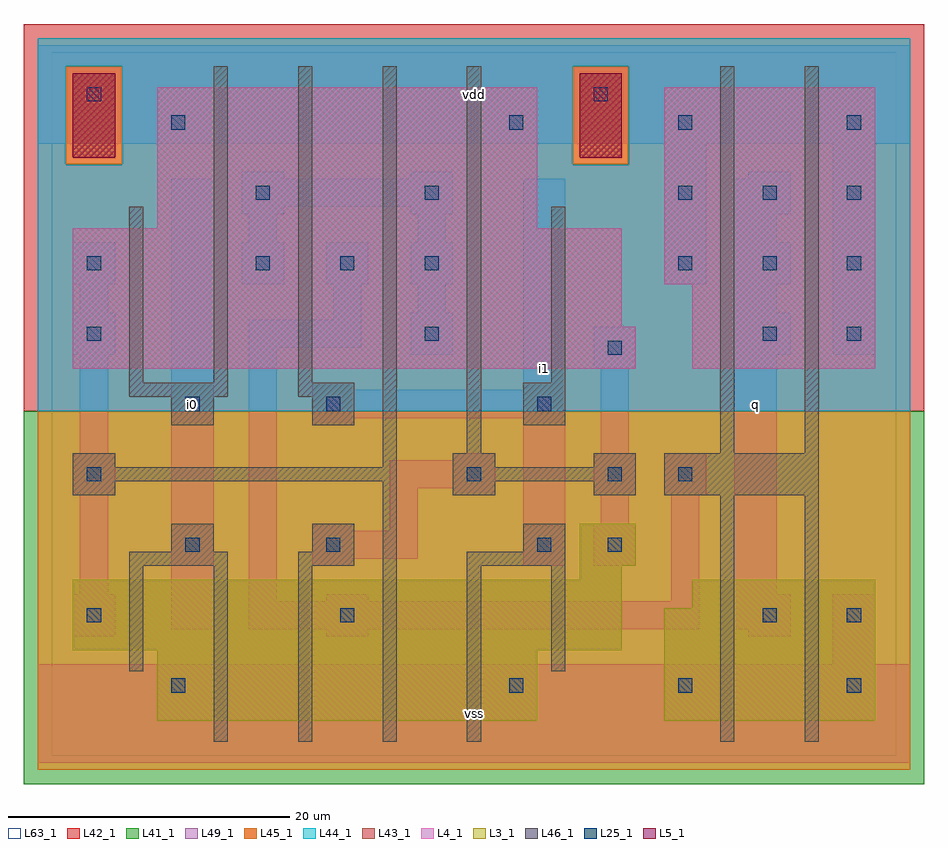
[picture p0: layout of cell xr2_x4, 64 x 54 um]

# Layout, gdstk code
import gdstk
lib = gdstk.Library(unit=1e-6, precision=1e-09)
def R(c, l, rs):  # rectangles x0, y0, x1, y1
    for r in rs: c.add(gdstk.rectangle(r[:2], r[2:], *l))
def A(c, l, x, y, w, h, nx, ny, dx, dy):  # array of equal rectangles
    R(c, l, [(x+i*dx, y+j*dy, x+i*dx+w, y+j*dy+h) for i in range(nx) for j in range(ny)])
L3_1 = (3, 1)
L4_1 = (4, 1)
L5_1 = (5, 1)
L25_1 = (25, 1)
L41_1 = (41, 1)
L42_1 = (42, 1)
L43_1 = (43, 1)
L44_1 = (44, 1)
L45_1 = (45, 1)
L46_1 = (46, 1)
L49_1 = (49, 1)
L63_1 = (63, 1)

xr2_x4 = lib.new_cell('xr2_x4')
R(xr2_x4, L3_1, [(7.5,2.5,34.5,7.5), (43.5,2.5,58.5,10.5), (1.5,7.5,40.5,12.5), (45.5,10.5,58.5,12.5), (37.5,12.5,40.5,13.5), (37.5,13.5,41.5,16.5)])
R(xr2_x4, L4_1, [(1.5,27.5,41.5,30.5), (45.5,27.5,58.5,33.5), (1.5,30.5,40.5,37.5), (43.5,33.5,58.5,47.5), (7.5,37.5,34.5,47.5)])
R(xr2_x4, L5_1, [(1.5,42.5,4.5,48.5), (37.5,42.5,40.5,48.5)])
A(xr2_x4, L25_1, 32.5, 4.5, 1, 1, 3, 2, 12, 40)
A(xr2_x4, L25_1, 2.5, 29.5, 1, 1, 3, 1, 24, 0)
A(xr2_x4, L25_1, 14.5, 34.5, 1, 1, 3, 1, 6, 0)
A(xr2_x4, L25_1, 44.5, 34.5, 1, 1, 3, 2, 6, 5)
R(xr2_x4, L25_1, [(8.5,4.5,9.5,5.5), (2.5,9.5,3.5,10.5), (20.5,9.5,21.5,10.5), (50.5,9.5,51.5,10.5), (56.5,9.5,57.5,10.5), (9.5,14.5,10.5,15.5), (19.5,14.5,20.5,15.5), (34.5,14.5,35.5,15.5), (39.5,14.5,40.5,15.5), (2.5,19.5,3.5,20.5), (29.5,19.5,30.5,20.5), (39.5,19.5,40.5,20.5), (44.5,19.5,45.5,20.5), (9.5,24.5,10.5,25.5), (19.5,24.5,20.5,25.5), (34.5,24.5,35.5,25.5), (39.5,28.5,40.5,29.5), (56.5,29.5,57.5,30.5), (2.5,34.5,3.5,35.5), (14.5,39.5,15.5,40.5), (26.5,39.5,27.5,40.5), (8.5,44.5,9.5,45.5), (2.5,46.5,3.5,47.5), (38.5,46.5,39.5,47.5)])
R(xr2_x4, L41_1, [(-2,-2,62,24.5)])
R(xr2_x4, L42_1, [(-2,24.5,62,52)])
R(xr2_x4, L43_1, [(7.5,2.5,34.5,7.5), (43.5,2.5,58.5,10.5), (1.5,7.5,40.5,12.5), (45.5,10.5,58.5,12.5), (37.5,12.5,40.5,13.5), (37.5,13.5,41.5,16.5), (1.5,27.5,41.5,30.5), (45.5,27.5,58.5,33.5), (1.5,30.5,40.5,37.5), (43.5,33.5,58.5,47.5), (7.5,37.5,34.5,47.5), (1.5,42.5,4.5,48.5), (37.5,42.5,40.5,48.5)])
R(xr2_x4, L44_1, [(-1,24.5,61,42), (-1,42,1,49), (5,42,37,49), (41,42,61,49), (-1,49,61,51)])
R(xr2_x4, L45_1, [(-1,-1,61,24.5), (1,42,5,49), (37,42,41,49)])
R(xr2_x4, L46_1, [(11.5,1,12.5,13.5), (17.5,1,18.5,13.5), (23.5,1,24.5,19.5), (29.5,1,30.5,13.5), (47.5,1,48.5,18.5), (53.5,1,54.5,18.5), (5.5,6,6.5,13.5), (35.5,6,36.5,13.5), (5.5,13.5,12.5,14.5), (17.5,13.5,21.5,14.5), (29.5,13.5,36.5,14.5), (8.5,14.5,11.5,16.5), (18.5,14.5,21.5,16.5), (33.5,14.5,36.5,16.5), (1.5,18.5,4.5,19.5), (28.5,18.5,31.5,19.5), (38.5,18.5,41.5,19.5), (43.5,18.5,54.5,21.5), (1.5,19.5,24.5,20.5), (28.5,19.5,41.5,20.5), (1.5,20.5,4.5,21.5), (23.5,20.5,24.5,49), (28.5,20.5,31.5,21.5), (38.5,20.5,41.5,21.5), (29.5,21.5,30.5,49), (47.5,21.5,48.5,49), (53.5,21.5,54.5,49), (8.5,23.5,11.5,25.5), (18.5,23.5,21.5,25.5), (33.5,23.5,36.5,26.5), (5.5,25.5,12.5,26.5), (17.5,25.5,21.5,26.5), (5.5,26.5,6.5,39), (11.5,26.5,12.5,49), (17.5,26.5,18.5,49), (35.5,26.5,36.5,39)])
A(xr2_x4, L49_1, 1.5, 8.5, 3, 3, 1, 3, 0, 10)
A(xr2_x4, L49_1, 13.5, 33.5, 3, 3, 3, 1, 6, 0)
R(xr2_x4, L49_1, [(-1,-0.5,61,6.5), (55.5,6.5,58.5,11.5), (19.5,8.5,22.5,9), (49.5,8.5,52.5,9), (8.5,9,11.5,41), (14,9,46,11), (48.5,9,52.5,11.5), (14,11,16,29), (19.5,11,22.5,11.5), (44,11,46,18.5), (2,11.5,4,18.5), (48.5,11.5,51.5,28.5), (18.5,13.5,21.5,14), (33.5,13.5,36.5,24), (38.5,13.5,41.5,16.5), (18.5,14,26,16), (18.5,16,21.5,16.5), (24,16,26,19), (39,16.5,41,18.5), (28.5,18.5,31.5,19), (38.5,18.5,41.5,21.5), (43.5,18.5,46.5,21.5), (24,19,31.5,21), (28.5,21,31.5,21.5), (2,21.5,4,28.5), (39,21.5,41,27.5), (18.5,23.5,21.5,24), (18.5,24,36.5,26), (18.5,26,21.5,26.5), (33.5,26,36.5,41), (38.5,27.5,41.5,30.5), (25.5,28.5,28.5,31.5), (48.5,28.5,52.5,31.5), (55.5,28.5,58.5,43.5), (14,29,22,31), (20,31,22,33.5), (2,31.5,4,33.5), (26,31.5,28,33.5), (48.5,31.5,51.5,33.5), (1.5,33.5,4.5,36.5), (43.5,33.5,46.5,43.5), (48.5,33.5,52.5,36.5), (14,36.5,16,38.5), (26,36.5,28,38.5), (48.5,36.5,51.5,38.5), (13.5,38.5,16.5,39), (25.5,38.5,28.5,39), (48.5,38.5,52.5,41), (13.5,39,28.5,41), (13.5,41,16.5,41.5), (25.5,41,28.5,41.5), (49.5,41,52.5,41.5), (-1,43.5,61,50.5)])
R(xr2_x4, L63_1, [(0,0,60,50)])
xr2_x4.add(gdstk.Label('i0', (10,25), layer=49, texttype=1))
xr2_x4.add(gdstk.Label('i0', (10,25), layer=49, texttype=1))
xr2_x4.add(gdstk.Label('vss', (30,3), layer=49, texttype=1))
xr2_x4.add(gdstk.Label('vss', (30,3), layer=49, texttype=1))
xr2_x4.add(gdstk.Label('i1', (35,27.5), layer=49, texttype=1))
xr2_x4.add(gdstk.Label('i1', (35,27.5), layer=49, texttype=1))
xr2_x4.add(gdstk.Label('vdd', (30,47), layer=49, texttype=1))
xr2_x4.add(gdstk.Label('vdd', (30,47), layer=49, texttype=1))
xr2_x4.add(gdstk.Label('q', (50,25), layer=49, texttype=1))
xr2_x4.add(gdstk.Label('q', (50,25), layer=49, texttype=1))

lib.write_gds('xr2_x4.gds')
